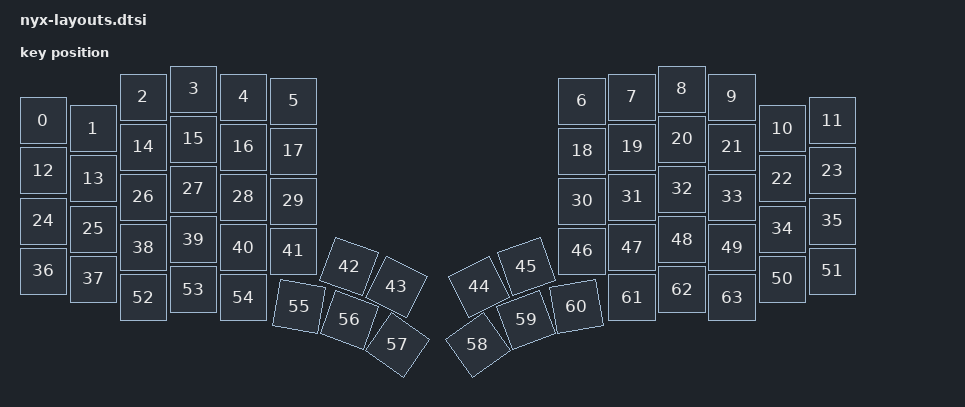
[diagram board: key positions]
// See https://zmk.dev/docs/development/hardware-integration/physical-layouts
// for how to configure this.
#include <dt-bindings/zmk/physical_layout.h>

/ {
    default_layout: default_layout {
        compatible = "zmk,physical-layout";
        display-name = "LAYOUT";

        kscan = <&kscan>;
        transform = <&default_transform>;

        keys  //                     w   h    x    y     rot    rx    ry
            = <&key_physical_attrs 100 100    0   63       0     0     0>
            , <&key_physical_attrs 100 100  100   79       0     0     0>
            , <&key_physical_attrs 100 100  200   16       0     0     0>
            , <&key_physical_attrs 100 100  301    0       0     0     0>
            , <&key_physical_attrs 100 100  401   16       0     0     0>
            , <&key_physical_attrs 100 100  501   24       0     0     0>
            , <&key_physical_attrs 100 100 1078   24       0     0     0>
            , <&key_physical_attrs 100 100 1178   16       0     0     0>
            , <&key_physical_attrs 100 100 1278    0       0     0     0>
            , <&key_physical_attrs 100 100 1378   16       0     0     0>
            , <&key_physical_attrs 100 100 1479   79       0     0     0>
            , <&key_physical_attrs 100 100 1579   63       0     0     0>
            , <&key_physical_attrs 100 100    0  163       0     0     0>
            , <&key_physical_attrs 100 100  100  179       0     0     0>
            , <&key_physical_attrs 100 100  200  116       0     0     0>
            , <&key_physical_attrs 100 100  301  100       0     0     0>
            , <&key_physical_attrs 100 100  401  116       0     0     0>
            , <&key_physical_attrs 100 100  501  124       0     0     0>
            , <&key_physical_attrs 100 100 1078  124       0     0     0>
            , <&key_physical_attrs 100 100 1178  116       0     0     0>
            , <&key_physical_attrs 100 100 1278  100       0     0     0>
            , <&key_physical_attrs 100 100 1378  116       0     0     0>
            , <&key_physical_attrs 100 100 1479  179       0     0     0>
            , <&key_physical_attrs 100 100 1579  163       0     0     0>
            , <&key_physical_attrs 100 100    0  264       0     0     0>
            , <&key_physical_attrs 100 100  100  280       0     0     0>
            , <&key_physical_attrs 100 100  200  216       0     0     0>
            , <&key_physical_attrs 100 100  301  200       0     0     0>
            , <&key_physical_attrs 100 100  401  216       0     0     0>
            , <&key_physical_attrs 100 100  501  224       0     0     0>
            , <&key_physical_attrs 100 100 1078  224       0     0     0>
            , <&key_physical_attrs 100 100 1178  216       0     0     0>
            , <&key_physical_attrs 100 100 1278  200       0     0     0>
            , <&key_physical_attrs 100 100 1378  216       0     0     0>
            , <&key_physical_attrs 100 100 1479  280       0     0     0>
            , <&key_physical_attrs 100 100 1579  264       0     0     0>
            , <&key_physical_attrs 100 100    0  364       0     0     0>
            , <&key_physical_attrs 100 100  100  380       0     0     0>
            , <&key_physical_attrs 100 100  200  317       0     0     0>
            , <&key_physical_attrs 100 100  301  301       0     0     0>
            , <&key_physical_attrs 100 100  401  317       0     0     0>
            , <&key_physical_attrs 100 100  501  324       0     0     0>
            , <&key_physical_attrs 100 100  612  355    2000   662   405>
            , <&key_physical_attrs 100 100  707  396    2700   757   446>
            , <&key_physical_attrs 100 100  872  396 (-2700)   922   446>
            , <&key_physical_attrs 100 100  967  355 (-2000)  1017   405>
            , <&key_physical_attrs 100 100 1078  324       0     0     0>
            , <&key_physical_attrs 100 100 1178  317       0     0     0>
            , <&key_physical_attrs 100 100 1278  301       0     0     0>
            , <&key_physical_attrs 100 100 1378  317       0     0     0>
            , <&key_physical_attrs 100 100 1479  380       0     0     0>
            , <&key_physical_attrs 100 100 1579  364       0     0     0>
            , <&key_physical_attrs 100 100  200  417       0     0     0>
            , <&key_physical_attrs 100 100  301  401       0     0     0>
            , <&key_physical_attrs 100 100  401  417       0     0     0>
            , <&key_physical_attrs 100 100  512  435    1000   562   485>
            , <&key_physical_attrs 100 100  613  462    2000   663   512>
            , <&key_physical_attrs 100 100  709  512    3500   759   562>
            , <&key_physical_attrs 100 100  870  512 (-3500)   920   562>
            , <&key_physical_attrs 100 100  966  462 (-2000)  1016   512>
            , <&key_physical_attrs 100 100 1067  435 (-1000)  1117   485>
            , <&key_physical_attrs 100 100 1178  417       0     0     0>
            , <&key_physical_attrs 100 100 1278  401       0     0     0>
            , <&key_physical_attrs 100 100 1378  417       0     0     0>
            ;
    };

    position_map {
        compatible = "zmk,physical-layout-position-map";

        complete;

        default_layout {
            physical-layout = <&physical_layout0>;
            positions = <  0  1  2  3  4  5             6  7  8  9  10 11 >
                       ,< 12 13 14 15 16 17             18 19 20 21 22 23 >
                       ,< 24 25 26 27 28 29             30 31 32 33 34 35 >
                       ,< 36 37 38 39 40 41 42 43 44 45 46 47 48 49 50 51 >
                       ,<       52 53 54 55 56 57 58 59 60 61 62 63       >;
        };
    };
};
